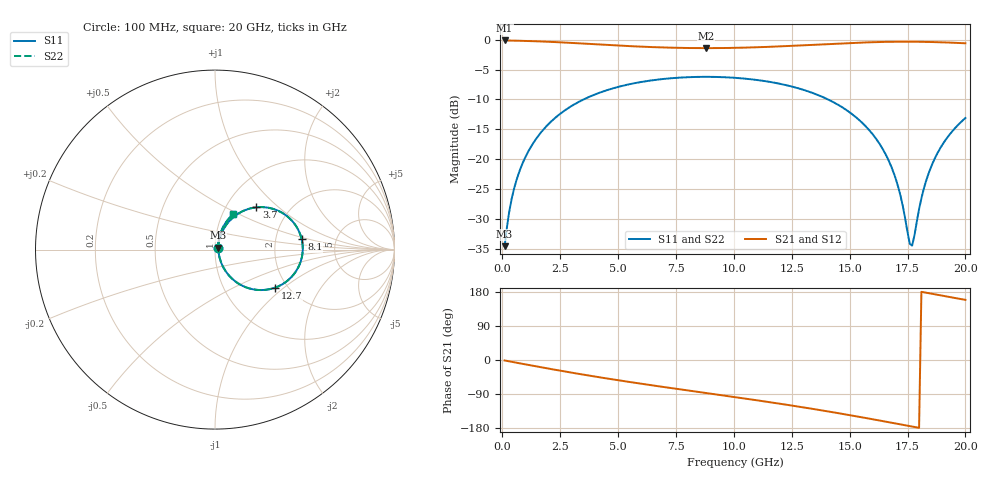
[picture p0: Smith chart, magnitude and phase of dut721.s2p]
! Touchstone file exported from HFSS 2026.1.0
!  File:  C:/ffzhzh/LocalFiles/Ansys_Project_Files/temp_train_TSV_RDL_721_1783201804_51560.aedt
!  Generated:  05:59:16 AM Jul  5, 2026
!  Design:  TSV_RDL
!  Project:  temp_train_TSV_RDL_721_1783201804_51560
! Variables:
!  h_bsmrdl = 4.26um
!  h_ox = 20um
!  h_rdl = 5um
!  h_sub = 87.74um
!  h_tmrdl = 2.45um
!  h_tsv = 87.74um
!  h_via = 3um
!  l_bsmrdl = 539.04um
!  l_sub = 3087.66um
!  l_tmrdl = 238.1um
!  m_sub = 200um
!  pitch = 50.4um
!  r_tsv = 13.31um
!  s_tmrdl = 10um
!  w_bsmrdl = 17.86um
!  w_sub = 500um
!  w_tmrdl = 21.52um
!  x_tsv_center1 = 248.86um
!  x_tsv_center2 = 805.76um
!  x_tsv_center3 = 1065.38um
!  x_tsv_center4 = 1622.28um
!  x_tsv_center5 = 1881.9um
!  x_tsv_center6 = 2438.8um
# GHz S MA R 50.000000
! Terminal data exported
! Port[1] = TM_RDL1_1_T1
! Port[2] = TM_RDL5_1_T1
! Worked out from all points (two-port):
!   200 points, 100 MHz to 20 GHz, reference 50 ohm
!   highest |S21| = -0.13 dB at 100 MHz (marker M1); lowest = -1.4 dB at 8.8 GHz (marker M2)
!   |S21| within 3 dB of the highest: start of sweep to end of sweep
!   lowest |S11| = -34.5 dB at 100 MHz (marker M3), VSWR 1.04, Z = 51.5 + j1.12 ohm
!   |S11| at or under -10 dB: start of sweep to 3.507 GHz; 14.07 GHz to end of sweep
!   |S22| runs from -34.5 to -6.2 dB; largest |S21 - S12| = 2.9e-14
!   S11 on the Smith chart (normalised r, x): 100 MHz: 1.03, +0.02; 3.7 GHz: 1.38, +0.73; 8.1 GHz: 2.82, +0.43; 12.7 GHz: 1.73, -0.87; 20 GHz: 1.12, +0.46
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0.1  0.01879 35.2  0.9848 -1.2  0.9848 -1.2  0.01879 35.2
! Gamma 0 0 0 0
! Port Impedance 50 0 50 0
0.3  0.03651 60.1  0.9833 -3.6  0.9833 -3.6  0.03651 60.1
0.5  0.05599 66.1  0.9813 -5.9  0.9813 -5.9  0.05599 66.1
1.1  0.1141 67.7  0.9746 -12.7  0.9746 -12.7  0.1141 67.7
2.1  0.2061 60.6  0.9584 -23.8  0.9584 -23.8  0.2061 60.6
3.5  0.3157 47.6  0.9275 -38.6  0.9275 -38.6  0.3157 47.6
3.7  0.3292 45.7  0.9227 -40.6  0.9227 -40.6  0.3292 45.7
6.8  0.4659 17.9  0.8624 -69.8  0.8624 -69.8  0.4659 17.9
8.1  0.4863 7.0  0.8512 -81.1  0.8512 -81.1  0.4863 6.9
8.8  0.489 1.1  0.8496 -87.1  0.8496 -87.1  0.489 1.1
10.1  0.479 -9.7  0.8546 -98.4  0.8546 -98.4  0.479 -9.7
12.7  0.3964 -32.3  0.8918 -122.1  0.8918 -122.1  0.3964 -32.3
13.4  0.3587 -38.7  0.9058 -128.9  0.9058 -128.9  0.3587 -38.7
15.4  0.2141 -57.0  0.9442 -149.8  0.9442 -149.8  0.2141 -57.1
16.7  0.09632 -65.0  0.9592 -164.2  0.9592 -164.2  0.0963 -65.1
17.1  0.0586 -62.0  0.9611 -168.8  0.9611 -168.8  0.05857 -62.1
17.6  0.01963 -14.4  0.9614 -174.5  0.9614 -174.5  0.01953 -14.5
17.7  0.01902 14.2  0.9612 -175.6  0.9612 -175.6  0.01892 14.2
18.1  0.0472 65.0  0.9593 179.9  0.9593 179.9  0.04717 65.2
18.5  0.08466 71.2  0.9561 175.3  0.9561 175.3  0.08464 71.2
19.1  0.1411 69.7  0.9486 168.6  0.9486 168.6  0.1411 69.7
20  0.2212 62.8  0.9327 158.7  0.9327 158.7  0.2212 62.8
